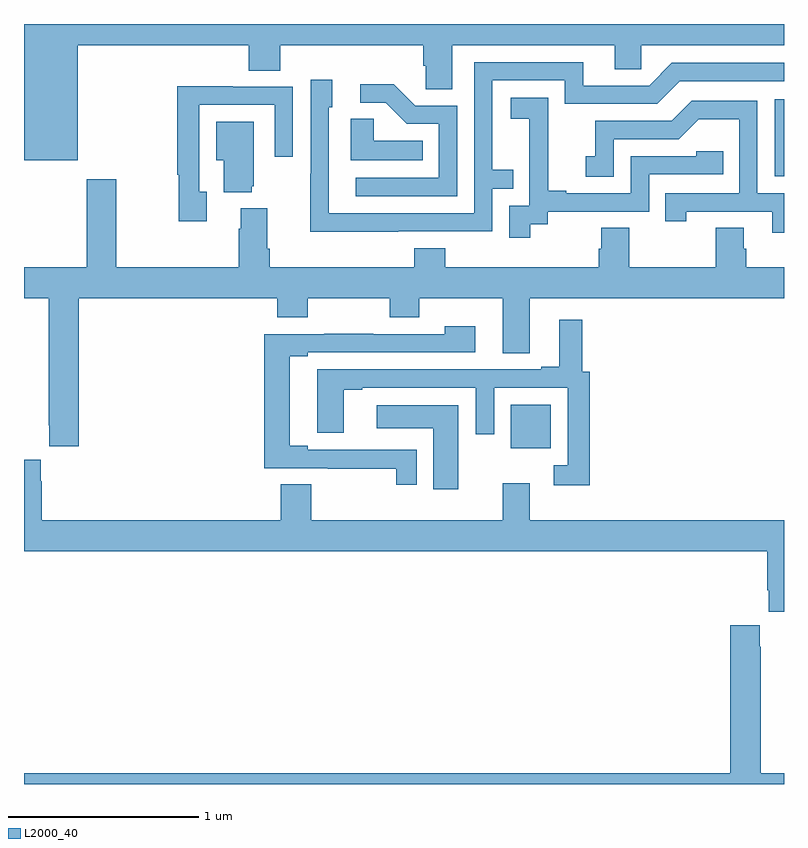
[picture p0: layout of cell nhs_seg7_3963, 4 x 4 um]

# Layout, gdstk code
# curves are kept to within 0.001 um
import gdstk
lib = gdstk.Library(unit=1e-6, precision=1e-09)
def R(c, l, rs):  # rectangles x0, y0, x1, y1
    for r in rs: c.add(gdstk.rectangle(r[:2], r[2:], *l))
def P(c, l, *ps):  # polygons
    for p in ps: c.add(gdstk.Polygon(p, *l))
L2000_40 = (2000, 40)

nhs_seg7_3963 = lib.new_cell('nhs_seg7_3963')
R(nhs_seg7_3963, L2000_40, [(363.563,1059.767,363.772,1059.997), (364.95,1061.199,365,1061.605)])
P(nhs_seg7_3963, L2000_40, [(361,1061.282),(361.282,1061.282),(361.282,1061.888),(362.183,1061.888),(362.183,1061.755),(362.348,1061.755),(362.348,1061.888),(363.101,1061.888),(363.101,1061.779),(363.114,1061.779),(363.114,1061.656),(363.253,1061.656),(363.253,1061.888),(364.109,1061.888),(364.109,1061.761),(364.248,1061.761),(364.248,1061.888),(365,1061.888),(365,1062),(361,1062)],
  [(362.969,1060.908),(363.465,1060.908),(363.465,1061.133),(363.575,1061.133),(363.575,1061.234),(363.465,1061.234),(363.465,1061.703),(363.846,1061.703),(363.846,1061.58),(364.332,1061.58),(364.452,1061.7),(365,1061.7),(365,1061.796),(364.41,1061.796),(364.29,1061.676),(363.943,1061.676),(363.943,1061.799),(363.369,1061.799),(363.369,1061.004),(362.604,1061.004),(362.604,1061.562),(362.623,1061.562),(362.623,1061.707),(362.508,1061.707),(362.508,1061.213),(362.506,1061.213),(362.506,1060.907)],
  [(363.279,1061.571),(363.06,1061.571),(362.947,1061.684),(362.769,1061.684),(362.769,1061.586),(362.903,1061.586),(363.014,1061.475),(363.183,1061.475),(363.183,1061.19),(362.745,1061.19),(362.745,1061.094),(363.279,1061.094)],
  [(361.963,1061.118),(361.923,1061.118),(361.923,1061.574),(362.319,1061.574),(362.319,1061.301),(362.415,1061.301),(362.415,1061.67),(362.099,1061.67),(362.099,1061.672),(361.807,1061.672),(361.807,1061.206),(361.815,1061.206),(361.815,1060.962),(361.963,1060.962)],
  [(363.664,1060.945),(363.756,1060.945),(363.756,1061.013),(364.29,1061.013),(364.29,1061.208),(364.679,1061.208),(364.679,1061.331),(364.539,1061.331),(364.539,1061.304),(364.194,1061.304),(364.194,1061.109),(363.853,1061.109),(363.853,1061.122),(363.758,1061.122),(363.758,1061.405),(363.759,1061.405),(363.759,1061.611),(363.561,1061.611),(363.561,1061.501),(363.659,1061.501),(363.659,1061.273),(363.66,1061.273),(363.66,1061.043),(363.555,1061.043),(363.555,1060.875),(363.664,1060.875)],
  [(365,1061.109),(364.86,1061.109),(364.86,1061.595),(364.514,1061.595),(364.409,1061.49),(364.006,1061.49),(364.006,1061.305),(363.957,1061.305),(363.957,1061.196),(364.104,1061.196),(364.104,1061.394),(364.446,1061.394),(364.55,1061.498),(364.764,1061.498),(364.764,1061.109),(364.375,1061.109),(364.375,1060.962),(364.486,1060.962),(364.486,1061.013),(364.937,1061.013),(364.937,1060.902),(365,1060.902)],
  [(363.098,1061.386),(362.841,1061.386),(362.841,1061.501),(362.72,1061.501),(362.72,1061.282),(363.098,1061.282)],
  [(362.198,1061.145),(362.209,1061.145),(362.209,1061.485),(362.012,1061.485),(362.012,1061.282),(362.051,1061.282),(362.051,1061.114),(362.198,1061.114)],
  [(361.289,1060.556),(362.333,1060.556),(362.333,1060.457),(362.493,1060.457),(362.493,1060.556),(362.926,1060.556),(362.926,1060.457),(363.081,1060.457),(363.081,1060.556),(363.521,1060.556),(363.521,1060.267),(363.661,1060.267),(363.661,1060.556),(365,1060.556),(365,1060.72),(364.802,1060.72),(364.802,1060.818),(364.789,1060.818),(364.789,1060.928),(364.642,1060.928),(364.642,1060.72),(364.185,1060.72),(364.185,1060.928),(364.037,1060.928),(364.037,1060.818),(364.025,1060.818),(364.025,1060.72),(363.218,1060.72),(363.218,1060.819),(363.053,1060.819),(363.053,1060.72),(362.294,1060.72),(362.294,1060.816),(362.281,1060.816),(362.281,1061.029),(362.141,1061.029),(362.141,1060.922),(362.129,1060.922),(362.129,1060.72),(361.485,1060.72),(361.485,1061.182),(361.33,1061.182),(361.33,1060.72),(361,1060.72),(361,1060.556),(361.129,1060.556),(361.129,1059.889),(361.133,1059.889),(361.133,1059.777),(361.289,1059.777)],
  [(363.977,1060.17),(363.937,1060.17),(363.937,1060.444),(363.818,1060.444),(363.818,1060.197),(363.722,1060.197),(363.722,1060.182),(362.543,1060.182),(362.543,1059.849),(362.683,1059.849),(362.683,1060.074),(362.779,1060.074),(362.779,1060.086),(363.378,1060.086),(363.378,1059.84),(363.474,1059.84),(363.474,1060.086),(363.861,1060.086),(363.861,1059.678),(363.789,1059.678),(363.789,1059.573),(363.977,1059.573)],
  [(363.066,1059.759),(362.494,1059.759),(362.494,1059.779),(362.398,1059.779),(362.398,1060.252),(362.494,1060.252),(362.494,1060.272),(363.376,1060.272),(363.376,1060.408),(363.215,1060.408),(363.215,1060.368),(362.837,1060.368),(362.837,1060.37),(362.581,1060.37),(362.581,1060.368),(362.264,1060.368),(362.264,1059.663),(362.599,1059.663),(362.599,1059.658),(362.958,1059.658),(362.958,1059.576),(363.066,1059.576)],
  [(363.286,1059.994),(362.856,1059.994),(362.856,1059.872),(363.155,1059.872),(363.155,1059.552),(363.286,1059.552)],
  [(365,1059.388),(363.661,1059.388),(363.661,1059.583),(363.521,1059.583),(363.521,1059.388),(362.511,1059.388),(362.511,1059.578),(362.351,1059.578),(362.351,1059.388),(361.094,1059.388),(361.094,1059.593),(361.087,1059.593),(361.087,1059.706),(361,1059.706),(361,1059.224),(364.913,1059.224),(364.913,1059.019),(364.919,1059.019),(364.919,1058.907),(365,1058.907)],
  [(365,1058.056),(364.878,1058.056),(364.878,1058.723),(364.873,1058.723),(364.873,1058.836),(364.718,1058.836),(364.718,1058.056),(361,1058.056),(361,1058),(365,1058)])

lib.write_gds('nhs_seg7_3963.gds')
